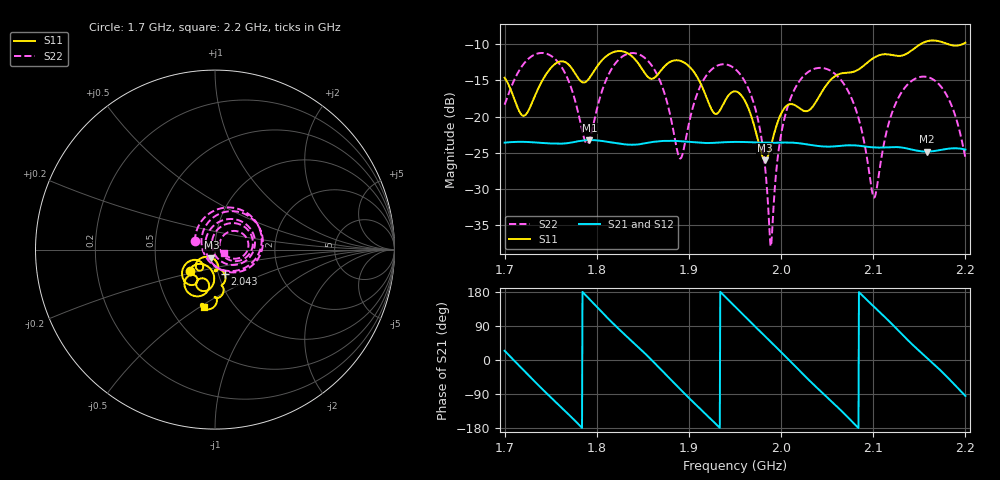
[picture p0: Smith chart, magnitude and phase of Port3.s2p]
# Hz S RI R 50
! CMT, CMT808U, 21440046, 21.4.3/4
! Date: 11/12/2025 3:03:57 PM
! Data: Format (Calibration Info)
! Freq	S11:Re/Im(F2)	S41:Re/Im(F2)	S14:Re/Im(F2)	S44:Re/Im(F2)
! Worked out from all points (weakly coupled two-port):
!   1001 points, 1.7 GHz to 2.2 GHz, reference 50 ohm
!   highest |S21| = -23.26 dB at 1.792 GHz (marker M1); lowest = -24.9 dB at 2.159 GHz (marker M2)
!   lowest |S11| = -26.0 dB at 1.982 GHz (marker M3), VSWR 1.10, Z = 47.8 - j4.38 ohm
!   |S11| at or under -10 dB: start of sweep to 2.151 GHz; 2.182 GHz to 2.196 GHz (14.17 MHz wide, 0.647 % of centre)
!   |S22| runs from -38.0 to -11.2 dB; largest |S21 - S12| = 7.5e-05
!   S11 on the Smith chart (normalised r, x): 1.7 GHz: 0.73, -0.18; 2.043 GHz: 1.07, -0.30; 2.2 GHz: 0.73, -0.52
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1.7e9  -0.1416 -0.1201  0.06 0.0272  0.06 0.0272  -0.1116 0.046
1.721e9  -0.0459 -0.0902  0.059 -0.0313  0.059 -0.0312  0.0349 0.2304
1.7455e9  -0.0125 -0.1981  0.00261 -0.0652  0.00263 -0.0652  0.2542 0.0987
1.7835e9  -0.0698 -0.1595  -0.0679 -0.00266  -0.0679 -0.00269  -0.0151 -0.0821
1.792e9  -0.0376 -0.181  -0.0647 0.0229  -0.0648 0.0229  -0.0682 -0.00319
1.825e9  -0.1341 -0.251  0.0121 0.0636  0.0121 0.0636  0.145 0.2066
1.867e9  -0.0976 -0.1728  0.0639 -0.0214  0.0639 -0.0214  0.1406 -0.1225
1.8905e9  -0.1736 -0.1707  0.0153 -0.0657  0.0154 -0.0657  -0.0491 -0.0145
1.917e9  -0.1337 -0.0606  -0.0504 -0.0419  -0.0503 -0.042  0.072 0.1697
1.95e9  -0.0989 -0.1121  -0.0519 0.0418  -0.0519 0.0418  0.2139 -0.00803
1.9705e9  -0.0746 -0.0459  -0.00171 0.0662  -0.00175 0.0662  0.0885 -0.085
1.9825e9  -0.02 -0.0457  0.0301 0.0585  0.0301 0.0585  0.0108 -0.0445
1.989e9  0.00422 -0.0626  0.0445 0.0483  0.0445 0.0483  -0.0122 -0.00311
2.0045e9  0.0128 -0.1154  0.065 0.0115  0.065 0.0115  0.00592 0.1019
2.0335e9  0.0294 -0.1115  0.0311 -0.0552  0.0311 -0.0552  0.1749 0.1182
2.0435e9  0.0531 -0.1355  0.00684 -0.0618  0.00688 -0.0618  0.2067 0.0678
2.0775e9  0.0375 -0.1999  -0.0606 -0.0178  -0.0606 -0.0178  0.112 -0.0644
2.1005e9  0.0402 -0.2518  -0.0477 0.0381  -0.0477 0.0381  0.0273 0.00316
2.117e9  0.00309 -0.2693  -0.0136 0.0597  -0.0136 0.0597  0.0466 0.0777
2.1585e9  -0.028 -0.3316  0.0569 0.00523  0.0569 0.00524  0.1864 0.0252
2.1815e9  -0.0787 -0.3071  0.04 -0.0445  0.0401 -0.0444  0.1241 -0.0497
2.2e9  -0.0608 -0.3195  -0.00495 -0.0588  -0.00492 -0.0588  0.0487 -0.0173
